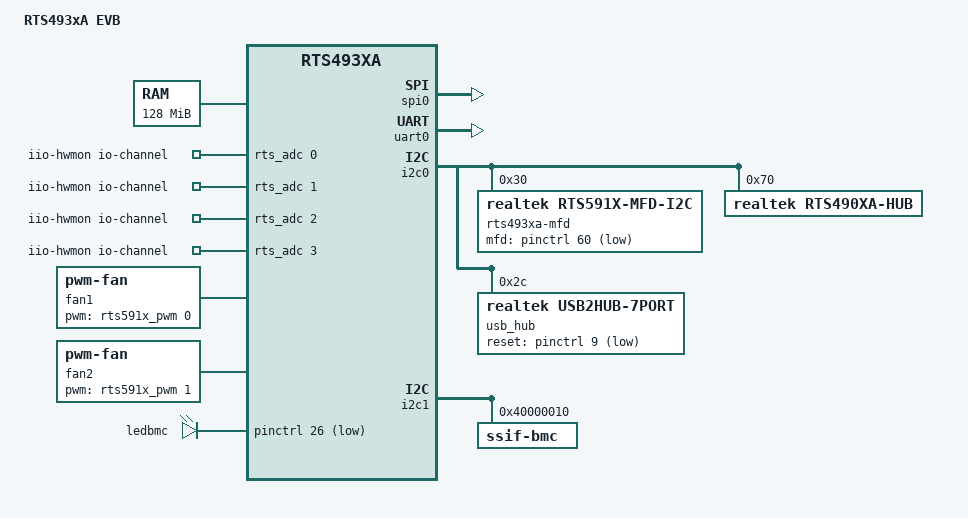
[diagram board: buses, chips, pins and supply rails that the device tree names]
#include "rts4930a.dtsi"
#include <dt-bindings/interrupt-controller/realtek,rts591x-iomatrix.h>

/ {
	model = "RTS493xA EVB";
	compatible = "realtek,rts493xa-evb","realtek,rts493xa";

	#address-cells = <1>;
	#size-cells = <1>;
	interrupt-parent = <&gic>;

	memory@80000000 {
		device_type = "memory";
		reg = <0x80000000 0x8000000>;
	};

	chosen {
		bootargs = "console=ttyS1,57600 init=/sbin/init earlyprintk rootfstype=squashfs user_debug=31";
		stdout-path = &uart1;
	};

	iio-hwmon {
			compatible = "iio-hwmon";
			io-channels = <&rts_adc 0>,
					<&rts_adc 1>,
					<&rts_adc 2>,
					<&rts_adc 3>;
					/* Channels should correspond to the adc enabled channels
					<&rts_adc 4>,
					<&rts_adc 5>,
					<&rts_adc 6>,
					<&rts_adc 7>;
					*/
	};

	fan1 {
			compatible = "pwm-fan";
			cooling-levels = <0 102 170 230>;
			pwms = <&rts591x_pwm 0 40960 0>;
			pulses-per-revolution = <2>;
		};

	fan2 {
			compatible = "pwm-fan";
			cooling-levels = <0 102 170 230>;
			pwms = <&rts591x_pwm 1 40960 0>;
			pulses-per-revolution = <2>;
		};

};

&spi0 {
	status = "okay";
	spi-transfer-channel = "quad";
	swp_enable;
	partitions {
		compatible = "fixed-partitions";
		#address-cells = <1>;
		#size-cells = <1>;

		partition@0 {
			label = "u-boot";
			reg = <0x00000 0xC0000>; //12*64K for uboot
		};

		partition@c0000 {
			label = "uboot-env";
			reg = <0xC0000 0x40000>; //4*64K for uboot env
		};

		partition@100000 {
			label = "kernel";
			reg = <0x100000 0x440000>; // 34*128K
		};

		partition@540000 {
			label = "rofs";
			reg = <0x540000 0x5B00000>; //728*128K
		};

		partition@6040000 {
			label = "rwfs";
			reg = <0x6040000 0x1FC0000>; //254*128K
		};
	};
};

&leds {
	ledbmc: identify {
		gpios = <&pinctrl 26 GPIO_ACTIVE_LOW>;
		status = "okay";
	};
};

&uart0 {
	status = "okay";
};


&i2c0 {
	status = "okay";

	rts493xa-mfd@30 {
		compatible = "realtek,rts591x-mfd-i2c";
		reg = <0x30>;
		#address-cells = <1>;
		#size-cells = <0>;

		realtek,irq-status-reg = <0x20075000>;
		realtek,irq-ack-reg = <0x20075000>;

		mfd-gpios = <&pinctrl 60 GPIO_ACTIVE_LOW>;
		interrupt-controller;
		#interrupt-cells = <1>;

		iomatrix-uapi {
			compatible = "realtek,iomatrix-uapi";
		};

		peci {
			compatible = "realtek,rts591x-peci";
			reg = <0x40221900>;
			status = "disabled";
		};

		rts591x-peci-oob {
			compatible = "realtek,rts591x-peci-oob";
			status = "okay";
		};

		rts591x_gpio: gpio {
			compatible = "realtek,rts591x-gpio";
			reg = <0x40230000>;
			interrupts = <RTS591X_IOMATRIX_IRQ_GPIO21>,
				     <RTS591X_IOMATRIX_IRQ_GPIO41>,
				     <RTS591X_IOMATRIX_IRQ_GPIO42>;
			gpio-controller;
			#gpio-cells = <2>;
			interrupt-controller;
			#interrupt-cells = <2>;
			gpio-line-names =
			"ESCM_GPIO000", "ESCM_GPIO001", "ESCM_GPIO002", "ESCM_GPIO003",
			"ESCM_GPIO004", "ESCM_GPIO005", "ESCM_GPIO006", "ESCM_GPIO007",
			"ESCM_GPIO008", "ESCM_GPIO009", "ESCM_GPIO010", "ESCM_GPIO011",
			"ESCM_GPIO012", "ESCM_GPIO013", "ESCM_GPIO014", "ESCM_GPIO015",
			"ESCM_GPIO016", "ESCM_GPIO017", "ESCM_GPIO018", "ESCM_GPIO019",
			"ESCM_GPIO020", "ESCM_GPIO021", "ESCM_GPIO022", "ESCM_GPIO023",
			"ESCM_GPIO024", "ESCM_GPIO025", "ESCM_GPIO026", "ESCM_GPIO027",
			"ESCM_GPIO028", "ESCM_GPIO029", "ESCM_GPIO030", "ESCM_GPIO031",
			"ESCM_GPIO032", "ESCM_GPIO033", "ESCM_GPIO034", "ESCM_GPIO035",
			"ESCM_GPIO036", "ESCM_GPIO037", "ESCM_GPIO038", "ESCM_GPIO039",
			"ESCM_GPIO040", "ESCM_GPIO041", "ESCM_GPIO042", "ESCM_GPIO043",
			"ESCM_GPIO044", "ESCM_GPIO045", "ESCM_GPIO046", "ESCM_GPIO047",
			"ESCM_GPIO048", "ESCM_GPIO049", "ESCM_GPIO050", "ESCM_GPIO051",
			"ESCM_GPIO052", "ESCM_GPIO053", "ESCM_GPIO054", "ESCM_GPIO055",
			"ESCM_GPIO056", "ESCM_GPIO057", "ESCM_GPIO058", "ESCM_GPIO059",
			"ESCM_GPIO060", "ESCM_GPIO061", "ESCM_GPIO062", "ESCM_GPIO063",
			"ESCM_GPIO064", "ESCM_GPIO065", "ESCM_GPIO066", "ESCM_GPIO067",
			"ESCM_GPIO068", "ESCM_GPIO069", "ESCM_GPIO070", "ESCM_GPIO071",
			"ESCM_GPIO072", "ESCM_GPIO073", "ESCM_GPIO074", "ESCM_GPIO075",
			"ESCM_GPIO076", "ESCM_GPIO077", "ESCM_GPIO078", "ESCM_GPIO079",
			"ESCM_GPIO080", "ESCM_GPIO081", "ESCM_GPIO082", "ESCM_GPIO083",
			"ESCM_GPIO084", "ESCM_GPIO085", "ESCM_GPIO086", "ESCM_GPIO087",
			"ESCM_GPIO088", "ESCM_GPIO089", "ESCM_GPIO090", "ESCM_GPIO091",
			"ESCM_GPIO092", "ESCM_GPIO093", "ESCM_GPIO094", "ESCM_GPIO095",
			"ESCM_GPIO096", "ESCM_GPIO097", "ESCM_GPIO098", "ESCM_GPIO099",
			"ESCM_GPIO100", "ESCM_GPIO101", "ESCM_GPIO102", "ESCM_GPIO103",
			"ESCM_GPIO104", "ESCM_GPIO105", "ESCM_GPIO106", "ESCM_GPIO107",
			"ESCM_GPIO108", "ESCM_GPIO109", "ESCM_GPIO110", "ESCM_GPIO111",
			"ESCM_GPIO112", "ESCM_GPIO113", "ESCM_GPIO114", "ESCM_GPIO115",
			"ESCM_GPIO116", "ESCM_GPIO117", "ESCM_GPIO118", "ESCM_GPIO119",
			"ESCM_GPIO120", "ESCM_GPIO121", "ESCM_GPIO122", "ESCM_GPIO123",
			"ESCM_GPIO124", "ESCM_GPIO125", "ESCM_GPIO126", "ESCM_GPIO127",
			"ESCM_GPIO128", "ESCM_GPIO129", "ESCM_GPIO130", "ESCM_GPIO131";
			status = "okay";
		};

		rts591x-i2c10 {
			compatible = "realtek,rts591x-i2c";
			reg = <0x40251200>;
			id = <10>;
			interrupts = <RTS591X_IOMATRIX_IRQ_I2C10>;
			status = "okay";
		};

		rts591x-i2c11 {
			compatible = "realtek,rts591x-i2c";
			reg = <0x40251400>;
			#address-cells = <1>;
			#size-cells = <0>;
			id = <11>;
			interrupts = <RTS591X_IOMATRIX_IRQ_I2C11>;
			status = "okay";

			eeprom@64 {
				compatible = "slave-24c02";
				reg = <0x40000064>;
			};
		};

		rts591x-i2c1 {
			compatible = "realtek,rts591x-i2c";
			reg = <0x40250000>;
			id = <1>;
			interrupts = <RTS591X_IOMATRIX_IRQ_I2C1>;
			status = "okay";
		};

		rts591x-i2c2 {
			compatible = "realtek,rts591x-i2c";
			reg = <0x40250200>;
			id = <2>;
			interrupts = <RTS591X_IOMATRIX_IRQ_I2C2>;
			status = "okay";
		};

		rts591x-i2c6 {
			compatible = "realtek,rts591x-i2c";
			reg = <0x40250A00>;
			#address-cells = <1>;
			#size-cells = <0>;
			id = <6>;
			interrupts = <RTS591X_IOMATRIX_IRQ_I2C6>;
			status = "okay";

			eeprom@64 {
				compatible = "slave-24c02";
				reg = <0x40000064>;
			};
		};

		rts_adc: rts591x-adc {
			compatible = "realtek,rts591x-adc";
			reg = <0x40251900>;
			linear-Calibration;
			mode = "repeat";
			status = "disabled";
			#io-channel-cells = <1>;

			channel@0{
				channel-en = "enabled";
				low-pass-filter;
			};

			channel@1{
				channel-en = "enabled";
				low-pass-filter;
			};

			channel@2{
				channel-en = "enabled";
				low-pass-filter;
			};

			channel@3{
				channel-en = "enabled";
				low-pass-filter;
			};

			channel@4{
				channel-en = "disabled";
				low-pass-filter;
			};

			channel@5{
				channel-en = "disabled";
				low-pass-filter;
			};

			channel@6{
				channel-en = "disabled";
				low-pass-filter;
			};

			channel@7{
				channel-en = "disabled";
				low-pass-filter;
			};
		};

		rts591x_pwm: rts591x_pwm_tacho {
			compatible = "realtek,rts591x-pwm-tacho";
			reg = <0x40254500>;
			clock-source= <0>; /*clock source selection*/
			status = "disabled";
			#address-cells = <1>;
			#size-cells = <0>;
			#pwm-cells = <3>;

			fans {
				reg = <0x40251f00>;
				edge-selection = <0>;
				#address-cells = <1>;
				#size-cells = <0>;
				// cnt-ready-interrupt-en;
				rts591x-fan@0 {
					reg = <0x00>;
					fan-tach-ch = /bits/ 8 <0x00>;
				};

				rts591x-fan@1 {
					reg = <0x01>;
					fan-tach-ch = /bits/ 8 <0x01>;
				};

				rts591x-fan@2 {
					reg = <0x02>;
					fan-tach-ch = /bits/ 8 <0x02>;
				};

				rts591x-fan@3 {
					reg = <0x03>;
					fan-tach-ch = /bits/ 8 <0x03>;
				};
			};
		};

		rts591x-kcs-bmc {
			compatible = "realtek,rts591x-kcs-bmc";
			reg = <0x40221700>;
			interrupts = <RTS591X_IOMATRIX_IRQ_KCS_IBF>;
			kcs_chan = <1>;
			realtek,io-reg = <0xCA2 0xCA3>;
		};

		rts591x-espi-snoop {
			compatible = "realtek,rts591x-espi-snoop";
			reg = <0x40221200>;
			interrupts = <RTS591X_IOMATRIX_IRQ_PORT80>;
			snoop-channel = <0>;
		};
	};

	rts490xa-hub@70 {
		compatible = "realtek,rts490xa-hub";
		reg = <0x70>;

		cp0-ldo-en = "enabled";
		cp1-ldo-en = "enabled";
		cp0-ldo-volt = "1.8V";
		cp1-ldo-volt = "1.8V";
		tp0145-ldo-en = "enabled";
		tp2367-ldo-en = "enabled";
		tp0145-ldo-volt = "1.8V";
		tp2367-ldo-volt = "1.8V";
		tp0145-pullup = "500R";
		tp2367-pullup = "500R";
		tp0145-io-strength = "30Ohms";
		tp2367-io-strength = "30Ohms";
		cp0-io-strength = "20Ohms";
		cp1-io-strength = "20Ohms";

		target-port@0 {
			mode = "smbus";
			pullup = "enabled";
			mctp-controller;
			backend@0,0 {
				compatible = "mctp-i2c-controller";
				target-reg = <0x10>;
			};
		};

		target-port@1 {
			mode = "smbus";
			pullup = "enabled";
			backend@0,0 {
				compatible = "slave-mqueue";
				target-reg = <0x10>;
			};
		};

		target-port@4 {
			mode = "smbus";
			pullup = "enabled";
			backend@0,0 {
				compatible = "slave-mqueue";
				target-reg = <0x10>;
			};
		};

		target-port@5 {
			mode = "smbus";
			pullup = "enabled";
			backend@0,0 {
				compatible = "slave-mqueue";
				target-reg = <0x10>;
			};
		};
	};

	usb_hub: usb2hub@2c {
		compatible = "realtek,usb2hub-7port";
		reg = <0x2c>;
		reset-gpios = <&pinctrl 9 GPIO_ACTIVE_LOW>;
		vendor-id = /bits/ 16 <0x0BDA>;
		product-id = /bits/ 16 <0x4517>;
		device-id = /bits/ 16 <0x0204>;
		manufacturer = "Realtek";
		product = "USB2.0 7-Port Hub";
		serial = "000000001";
		self-powered;
		multi-tt;
		string-support;
		individual-port-switching;
		power-on-time-ms = <100>;
		sp-max-total-current-microamp = <2000>;
		sp-max-removable-current-microamp = <2000>;
		port-map = <2 1 4 3 6 5 7>;
		swap-dx-lanes = <3 4>;
		non-removable-ports = <7>;
		sp-disabled-ports = <5 6>;
	};
};

&pinctrl {
	gpio-line-names =
	"", "", "", "", "", "", "", "", // 0~7
	"PGOOD", "",  // 8,9
	"CHASSIS_INTRUSION",                    // 10
	"", "", "", "", "", "", "", "", "", "",  // 11~20
	"", "", "", "", "", "", "", "", "", "",  // 21~30
	"", "", "", "", "", "", "", "", "", "",  // 31~40
	"", "", "", "", "", "", "", "", "", "",  // 41~50
	"", "", "", "", "", "", "", "", "", "",  // 51~60
	"", "", "", "", "", "", "", "", "", "",  // 61~70
	"", "", "", "", "", "", "", "", "", "",  // 71~80
	"", "", "", "", "", "", "", "", "";      // 81~88
};

&i2c1 {
	status = "okay";

	ssif-bmc@10 {
		compatible = "ssif-bmc";
		reg = <0x40000010>;
	};
};
